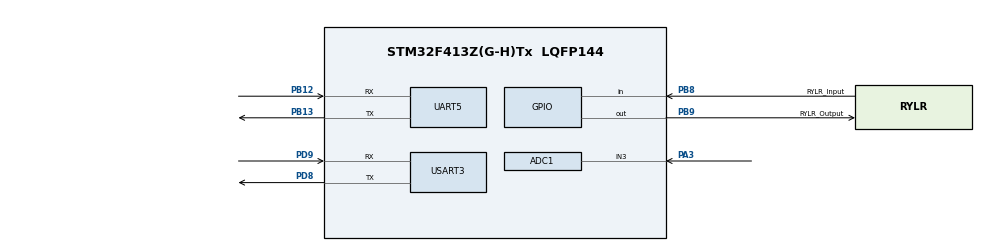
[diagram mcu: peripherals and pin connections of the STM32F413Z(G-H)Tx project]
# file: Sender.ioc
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ADC1.Channel-0\#ChannelRegularConversion=ADC_CHANNEL_3
ADC1.NbrOfConversionFlag=1
ADC1.Rank-0\#ChannelRegularConversion=1
ADC1.SamplingTime-0\#ChannelRegularConversion=ADC_SAMPLETIME_3CYCLES
ADC1.master=1
FREERTOS.INCLUDE_vTaskDelayUntil=1
FREERTOS.Tasks01=defaultTask,0,128,StartDefaultTask,Default,NULL,Dynamic,NULL,NULL
Mcu.Family=STM32F4
Mcu.Name=STM32F413Z(G-H)Tx
Mcu.Package=LQFP144
NVIC.PriorityGroup=NVIC_PRIORITYGROUP_4
NVIC.TIM1_UP_TIM10_IRQn=true\:15\:0\:false\:false\:true\:false\:false\:true\:true
NVIC.TimeBase=TIM1_UP_TIM10_IRQn
NVIC.TimeBaseIP=TIM1
NVIC.USART3_IRQn=true\:5\:0\:false\:false\:true\:true\:true\:true\:true
PA13.Mode=Serial_Wire
PA13.Signal=SYS_JTMS-SWDIO
PA14.Mode=Serial_Wire
PA14.Signal=SYS_JTCK-SWCLK
PA3.Signal=ADCx_IN3
PB12.Mode=Asynchronous
PB12.Signal=UART5_RX
PB13.Mode=Asynchronous
PB13.Signal=UART5_TX
PB8.GPIO_Label=RYLR_Input
PB8.Signal=GPIO_Input
PB9.GPIO_Label=RYLR_Output
PB9.Signal=GPIO_Output
PD8.Mode=Asynchronous
PD8.Signal=USART3_TX
PD9.Mode=Asynchronous
PD9.Signal=USART3_RX
ProjectManager.HeapSize=0x200
ProjectManager.StackSize=0x400
ProjectManager.TargetToolchain=STM32CubeIDE
RCC.CortexFreq_Value=16000000
RCC.USBFreq_Value=96000000
RCC.VCOOutputFreq_Value=192000000
SH.ADCx_IN3.0=ADC1_IN3,IN3
UART5.VirtualMode=Asynchronous
USART3.VirtualMode=VM_ASYNC
VP_FREERTOS_VS_CMSIS_V1.Mode=CMSIS_V1
VP_SYS_VS_tim1.Mode=TIM1
board=custom

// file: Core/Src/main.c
/* USER CODE BEGIN Header */
/**
  ******************************************************************************
  * @file           : main.c
  * @brief          : Main program body
  ******************************************************************************
  * @attention
  *
  * Copyright (c) 2022 STMicroelectronics.
  * All rights reserved.
  *
  * This software is licensed under terms that can be found in the LICENSE file
  * in the root directory of this software component.
  * If no LICENSE file comes with this software, it is provided AS-IS.
  *
  ******************************************************************************
  */
/* USER CODE END Header */
#include "main.h"
#include "cmsis_os.h"
#include <stdio.h>
#include <string.h>

ADC_HandleTypeDef hadc1;

UART_HandleTypeDef huart5;
UART_HandleTypeDef huart3;

//osThreadId defaultTaskHandle;
osThreadId ReadingTaskHandle;
osThreadId UploadTaskHandle;

void SystemClock_Config(void);
static void MX_GPIO_Init(void);
static void MX_USART3_UART_Init(void);
static void MX_ADC1_Init(void);
static void MX_UART5_Init(void);
//void StartDefaultTask(void const * argument);
void ReadingTaskHook(void const * argument);
void UploadTaskHook(void const * argument);

/* USER CODE BEGIN PFP */
void sending_function();

/* USER CODE END PFP */

/* USER CODE BEGIN 0 */

xQueueHandle xQueue1;
uint16_t raw;
SemaphoreHandle_t xData_Available;
SemaphoreHandle_t xData_cont;
int middle = 0;
uint8_t buffer3[5];
uint8_t whoops[] = "Whoops\r\n";
uint8_t buffer_long[5];

/* USER CODE END 0 */

int main(void)
{

  /* MCU Configuration--------------------------------------------------------*/

  /* Reset of all peripherals, Initializes the Flash interface and the Systick. */
  HAL_Init();

  /* Configure the system clock */
  SystemClock_Config();

  /* Initialize all configured peripherals */
  MX_GPIO_Init();
  MX_USART3_UART_Init();
  MX_ADC1_Init();
  MX_UART5_Init();
  /* USER CODE BEGIN 2 */

  xQueue1 = xQueueCreate(20, sizeof(char));
  xData_Available = xSemaphoreCreateBinary();
  xData_cont = xSemaphoreCreateBinary();

  //xSemaphoreGive( xData_cont );

  /* USER CODE END 2 */

  /* Create the thread(s) */
  /* definition and creation of defaultTask */
  //osThreadDef(defaultTask, StartDefaultTask, osPriorityNormal, 0, 128);
  //defaultTaskHandle = osThreadCreate(osThread(defaultTask), NULL);

  /* USER CODE BEGIN RTOS_THREADS */
  /* add threads, ... */
  osThreadDef(ReadingTask, ReadingTaskHook, osPriorityNormal, 0, 128);
  ReadingTaskHandle = osThreadCreate(osThread(ReadingTask), NULL);
  osThreadDef(UploadTask, UploadTaskHook, osPriorityNormal, 0, 128);
  UploadTaskHandle = osThreadCreate(osThread(UploadTask), NULL);
  /* USER CODE END RTOS_THREADS */

  /* Start scheduler */
  osKernelStart();

  /* We should never get here as control is now taken by the scheduler */
  /* Infinite loop */
  while (1)
  {

  }
}

void SystemClock_Config(void)
{
  RCC_OscInitTypeDef RCC_OscInitStruct = {0};
  RCC_ClkInitTypeDef RCC_ClkInitStruct = {0};

  /** Configure the main internal regulator output voltage
  */
  __HAL_RCC_PWR_CLK_ENABLE();
  __HAL_PWR_VOLTAGESCALING_CONFIG(PWR_REGULATOR_VOLTAGE_SCALE1);

  /** Initializes the RCC Oscillators according to the specified parameters
  * in the RCC_OscInitTypeDef structure.
  */
  RCC_OscInitStruct.OscillatorType = RCC_OSCILLATORTYPE_HSI;
  RCC_OscInitStruct.HSIState = RCC_HSI_ON;
  RCC_OscInitStruct.HSICalibrationValue = RCC_HSICALIBRATION_DEFAULT;
  RCC_OscInitStruct.PLL.PLLState = RCC_PLL_NONE;
  if (HAL_RCC_OscConfig(&RCC_OscInitStruct) != HAL_OK)
  {
    Error_Handler();
  }

  /** Initializes the CPU, AHB and APB buses clocks
  */
  RCC_ClkInitStruct.ClockType = RCC_CLOCKTYPE_HCLK|RCC_CLOCKTYPE_SYSCLK
                              |RCC_CLOCKTYPE_PCLK1|RCC_CLOCKTYPE_PCLK2;
  RCC_ClkInitStruct.SYSCLKSource = RCC_SYSCLKSOURCE_HSI;
  RCC_ClkInitStruct.AHBCLKDivider = RCC_SYSCLK_DIV1;
  RCC_ClkInitStruct.APB1CLKDivider = RCC_HCLK_DIV1;
  RCC_ClkInitStruct.APB2CLKDivider = RCC_HCLK_DIV1;

  if (HAL_RCC_ClockConfig(&RCC_ClkInitStruct, FLASH_LATENCY_0) != HAL_OK)
  {
    Error_Handler();
  }
}

static void MX_ADC1_Init(void)
{

  ADC_ChannelConfTypeDef sConfig = {0};

  /** Configure the global features of the ADC (Clock, Resolution, Data Alignment and number of conversion)
  */
  hadc1.Instance = ADC1;
  hadc1.Init.ClockPrescaler = ADC_CLOCK_SYNC_PCLK_DIV2;
  hadc1.Init.Resolution = ADC_RESOLUTION_12B;
  hadc1.Init.ScanConvMode = DISABLE;
  hadc1.Init.ContinuousConvMode = DISABLE;
  hadc1.Init.DiscontinuousConvMode = DISABLE;
  hadc1.Init.ExternalTrigConvEdge = ADC_EXTERNALTRIGCONVEDGE_NONE;
  hadc1.Init.ExternalTrigConv = ADC_SOFTWARE_START;
  hadc1.Init.DataAlign = ADC_DATAALIGN_RIGHT;
  hadc1.Init.NbrOfConversion = 1;
  hadc1.Init.DMAContinuousRequests = DISABLE;
  hadc1.Init.EOCSelection = ADC_EOC_SINGLE_CONV;
  if (HAL_ADC_Init(&hadc1) != HAL_OK)
  {
    Error_Handler();
  }

  /** Configure for the selected ADC regular channel its corresponding rank in the sequencer and its sample time.
  */
  sConfig.Channel = ADC_CHANNEL_3;
  sConfig.Rank = 1;
  sConfig.SamplingTime = ADC_SAMPLETIME_3CYCLES;
  if (HAL_ADC_ConfigChannel(&hadc1, &sConfig) != HAL_OK)
  {
    Error_Handler();
  }

}

static void MX_UART5_Init(void)
{

  huart5.Instance = UART5;
  huart5.Init.BaudRate = 115200;
  huart5.Init.WordLength = UART_WORDLENGTH_8B;
  huart5.Init.StopBits = UART_STOPBITS_1;
  huart5.Init.Parity = UART_PARITY_NONE;
  huart5.Init.Mode = UART_MODE_TX_RX;
  huart5.Init.HwFlowCtl = UART_HWCONTROL_NONE;
  huart5.Init.OverSampling = UART_OVERSAMPLING_16;
  if (HAL_UART_Init(&huart5) != HAL_OK)
  {
    Error_Handler();
  }

}

static void MX_USART3_UART_Init(void)
{

  huart3.Instance = USART3;
  huart3.Init.BaudRate = 115200;
  huart3.Init.WordLength = UART_WORDLENGTH_8B;
  huart3.Init.StopBits = UART_STOPBITS_1;
  huart3.Init.Parity = UART_PARITY_NONE;
  huart3.Init.Mode = UART_MODE_TX_RX;
  huart3.Init.HwFlowCtl = UART_HWCONTROL_NONE;
  huart3.Init.OverSampling = UART_OVERSAMPLING_16;
  if (HAL_UART_Init(&huart3) != HAL_OK)
  {
    Error_Handler();
  }

}

static void MX_GPIO_Init(void)
{

  /* GPIO Ports Clock Enable */
  __HAL_RCC_GPIOA_CLK_ENABLE();
  __HAL_RCC_GPIOB_CLK_ENABLE();
  __HAL_RCC_GPIOD_CLK_ENABLE();

}

/* USER CODE BEGIN 4 */
uint16_t *myString;

/* USER CODE END 4 */

void UploadTaskHook(void const * argument)
{
	for(;;)
	{
		if(xSemaphoreTake( xData_Available,  portMAX_DELAY)){
			char msg2[10];
			sprintf(msg2, "%lu\r\n", uxQueueSpacesAvailable( xQueue1 ));
			HAL_UART_Transmit(&huart3, (uint8_t*)msg2, strlen(msg2), 100);
			char msg3[5];
			sprintf(msg3, "%u\r\n", *myString);
			HAL_UART_Transmit(&huart3, (uint8_t*)msg3, strlen(msg3), 100);
			//xQueueSend(xQueue1, msg3, portMAX_DELAY);
			for(int i = 0; i<sizeof(msg3); i++){
				if( xQueueSend( xQueue1, &msg3+i, ( TickType_t ) 0 ) != pdPASS )
				{
					uint8_t buffer9[] = "Failed to Upload\r\n";
					HAL_UART_Transmit(&huart3, buffer9, sizeof(buffer9), 100);
				} else {
					uint8_t buffer9[] = "Upload :)\r\n";
					HAL_UART_Transmit(&huart3, buffer9, sizeof(buffer9), 100);
				}
			}
			if (uxQueueSpacesAvailable( xQueue1 ) == 0){
				sending_function();
			} else {
				xSemaphoreGive( xData_cont);
			}
		}
	}
}

void ReadingTaskHook(void const * argument)
{
	TickType_t tickCount;
		/* The cycle time period. The task will be unblocked at time (in ticks)*/
		TickType_t frequency = 5000;

		/* Get the current tck count */
		tickCount = xTaskGetTickCount();

		uint8_t buffer[19] = "AT+BAND=868500000\r\n";
		uint8_t buffer4[16] = "AT+NETWORKID=5\r\n";
		uint8_t buffer5[16] = "AT+ADDRESS=101\r\n";

		HAL_UART_Transmit(&huart5, buffer, sizeof(buffer), 100);

		HAL_StatusTypeDef status1 = HAL_UART_Receive(&huart5, buffer3, sizeof(buffer3), 1000);
		if(status1 != HAL_OK){
		   HAL_UART_Transmit(&huart3, whoops, sizeof(whoops), 100);
		}
		else{
		   HAL_UART_Transmit(&huart3, buffer3, sizeof(buffer3), 100);
		}

		vTaskDelayUntil( &tickCount, 1000 );

		HAL_UART_Transmit(&huart5, buffer4, sizeof(buffer4), 100);

		HAL_StatusTypeDef status2 = HAL_UART_Receive(&huart5, buffer3, sizeof(buffer3), 1000);
		if(status2 != HAL_OK){
    	   HAL_UART_Transmit(&huart3, whoops, sizeof(whoops), 100);
		}
		else{
		   HAL_UART_Transmit(&huart3, buffer3, sizeof(buffer3), 100);
		}

		vTaskDelayUntil( &tickCount, 1000 );

		HAL_UART_Transmit(&huart5, buffer5, sizeof(buffer5), 100);

   	    HAL_StatusTypeDef status4 = HAL_UART_Receive(&huart5, buffer3, sizeof(buffer3), 1000);
		if(status4 != HAL_OK){
		   HAL_UART_Transmit(&huart3, whoops, sizeof(whoops), 100);
		}
		else{
		   HAL_UART_Transmit(&huart3, buffer3, sizeof(buffer3), 100);
		}

		vTaskDelayUntil( &tickCount, 1000 );

		xSemaphoreGive(xData_cont);

		for(;;)
		{
			if(xSemaphoreTake( xData_cont,  portMAX_DELAY)){
				uint8_t buffer1[] = "Reading\r\n";
				HAL_UART_Transmit(&huart3, buffer1, sizeof(buffer1), 100);
				HAL_ADC_Start(&hadc1);
				HAL_ADC_PollForConversion(&hadc1, HAL_MAX_DELAY);
				raw = HAL_ADC_GetValue(&hadc1);
				raw = raw/200;
				raw = (int)raw;

				if (raw > 9){
					raw = 9;
				}
				myString=&raw;
				xSemaphoreGive(xData_Available);
				if(xSemaphoreTake( xData_cont,  portMAX_DELAY)){
					tickCount = xTaskGetTickCount();
					vTaskDelayUntil( &tickCount, frequency );
					xSemaphoreGive(xData_cont);
				}
			}
		}
}

void sending_function() {
	char msg[1];
	TickType_t tickCount;
	tickCount = xTaskGetTickCount();

	for(int i = 0; i<4; i++){
		xQueueReceive( xQueue1, &msg, ( TickType_t ) 0 );
		char buffer6[17];
		sprintf(buffer6, "AT+SEND=102,1,%c\r\n", *msg);
		HAL_UART_Transmit(&huart3, buffer6, sizeof(buffer6), 100);

		HAL_UART_Transmit(&huart5, buffer6, sizeof(buffer6), 100);

		HAL_StatusTypeDef status1 = HAL_UART_Receive(&huart5, buffer_long, sizeof(buffer_long), 1000);
	    if(status1 != HAL_OK){
		   HAL_UART_Transmit(&huart3, whoops, sizeof(whoops), 100);
	    }
	    else{
	       HAL_UART_Transmit(&huart3, buffer_long, sizeof(buffer_long), 100);
	    }

	    tickCount = xTaskGetTickCount();
	    vTaskDelayUntil( &tickCount, 4000 );

		xQueueReceive( xQueue1, &msg, ( TickType_t ) 0 );
		xQueueReceive( xQueue1, &msg, ( TickType_t ) 0 );
		xQueueReceive( xQueue1, &msg, ( TickType_t ) 0 );
		xQueueReceive( xQueue1, &msg, ( TickType_t ) 0 );

	}
	xSemaphoreGive(xData_cont);
}

void HAL_TIM_PeriodElapsedCallback(TIM_HandleTypeDef *htim)
{
  if (htim->Instance == TIM1) {
    HAL_IncTick();
  }
}

void Error_Handler(void)
{
  __disable_irq();
  while (1)
  {
  }
}
